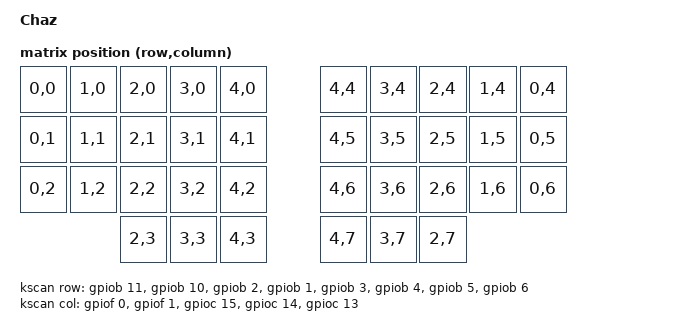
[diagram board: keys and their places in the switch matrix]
/*
 * Copyright (c) 2020 The ZMK Contributors
 *
 * SPDX-License-Identifier: MIT
 */

/dts-v1/;
#include <st/f0/stm32f072Xb.dtsi>
#include <st/f0/stm32f072v(8-b)tx-pinctrl.dtsi>

#include <dt-bindings/zmk/matrix_transform.h>

/ {
    model = "Chaz";
    compatible = "hazel,chaz", "st,stm32f072";

    chosen {
        zephyr,sram = &sram0;
        zephyr,flash = &flash0;
        zephyr,console = &cdc_acm_uart;
        zmk,kscan = &kscan;
        zmk,matrix_transform = &transform;
    };

    transform: transform {
        compatible = "zmk,matrix-transform";
        columns = <8>;
        rows = <5>;

        map = <
            RC(0,0) RC(1,0) RC(2,0) RC(3,0) RC(4,0) RC(4,4) RC(3,4) RC(2,4) RC(1,4) RC(0,4)
            RC(0,1) RC(1,1) RC(2,1) RC(3,1) RC(4,1) RC(4,5) RC(3,5) RC(2,5) RC(1,5) RC(0,5)
            RC(0,2) RC(1,2) RC(2,2) RC(3,2) RC(4,2) RC(4,6) RC(3,6) RC(2,6) RC(1,6) RC(0,6)
                            RC(2,3) RC(3,3) RC(4,3) RC(4,7) RC(3,7) RC(2,7)
        >;
    };


    kscan: kscan {
        compatible = "zmk,kscan-gpio-matrix";
        label = "KSCAN";

        diode-direction = "col2row";

        col-gpios
        = <&gpiof 0 (GPIO_ACTIVE_HIGH | GPIO_PULL_DOWN)>
        , <&gpiof 1 (GPIO_ACTIVE_HIGH | GPIO_PULL_DOWN)>
        , <&gpioc 15 (GPIO_ACTIVE_HIGH | GPIO_PULL_DOWN)>
        , <&gpioc 14 (GPIO_ACTIVE_HIGH | GPIO_PULL_DOWN)>
        , <&gpioc 13 (GPIO_ACTIVE_HIGH | GPIO_PULL_DOWN)>
        ;


        row-gpios
        = <&gpiob 11 (GPIO_ACTIVE_HIGH | GPIO_PULL_DOWN)>
        , <&gpiob 10 (GPIO_ACTIVE_HIGH | GPIO_PULL_DOWN)>
        , <&gpiob 2 (GPIO_ACTIVE_HIGH | GPIO_PULL_DOWN)>
        , <&gpiob 1 (GPIO_ACTIVE_HIGH | GPIO_PULL_DOWN)>
        , <&gpiob 3 (GPIO_ACTIVE_HIGH | GPIO_PULL_DOWN)>
        , <&gpiob 4 (GPIO_ACTIVE_HIGH | GPIO_PULL_DOWN)>
        , <&gpiob 5 (GPIO_ACTIVE_HIGH | GPIO_PULL_DOWN)>
        , <&gpiob 6 (GPIO_ACTIVE_HIGH | GPIO_PULL_DOWN)>
        ;
    };

};


&usb {
    status = "okay";
    cdc_acm_uart: cdc_acm_uart {
        compatible = "zephyr,cdc-acm-uart";
        label = "CDC_ACM_0";
    };
};

&clk_hsi {
    status = "okay";
};

&pll {
    prediv = <1>;
    mul = <6>;
    clocks = <&clk_hsi>;
    status = "okay";
};

&rcc {
    clocks = <&pll>;
    clock-frequency = <DT_FREQ_M(48)>;
    ahb-prescaler = <1>;
    apb1-prescaler = <1>;
};


&rtc {
    status = "okay";
};

&flash0 {
    /*
     * For more information, see:
     * http: //docs.zephyrproject.org/latest/guides/dts/index.html#flash-partitions
     */
    partitions {
        compatible = "fixed-partitions";
        #address-cells = <1>;
        #size-cells = <1>;

        /* Set 6Kb of storage at the end of the 128Kb of flash */
        storage_partition: partition@3e800 {
            label = "storage";
            reg = <0x0001e800 0x00001800>;
        };
    };
};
